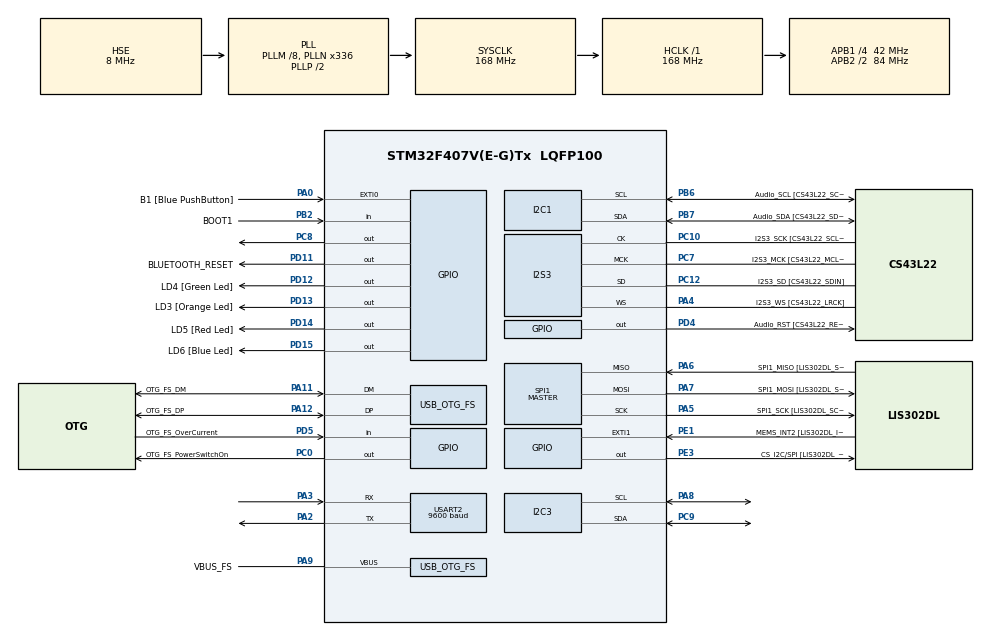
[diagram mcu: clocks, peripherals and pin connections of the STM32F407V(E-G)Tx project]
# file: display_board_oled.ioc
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PA11.GPIO_Speed=GPIO_SPEED_FREQ_LOW
PD12.GPIO_Label=LD4 [Green Led]
PH0-OSC_IN.Signal=RCC_OSC_IN
VP_SYS_VS_tim6.Mode=TIM6
PC10.GPIO_PuPd=GPIO_NOPULL
SPI1.VirtualType=VM_MASTER
PB10.GPIO_PuPd=GPIO_NOPULL
NVIC.TIM6_DAC_IRQn=true\:0\:0\:false\:false\:true\:false\:false\:true
PA10.GPIO_PuPd=GPIO_NOPULL
PC12.Signal=I2S3_SD
PA14.GPIO_Label=SWCLK
PA6.GPIO_Label=SPI1_MISO [LIS302DL_SDO]
PB6.GPIO_Label=Audio_SCL [CS43L22_SCL]
PC15-OSC32_OUT.GPIO_Label=PC15-OSC32_OUT
PC3.GPIO_Speed=GPIO_SPEED_FREQ_LOW
RCC.SYSCLKSource=RCC_SYSCLKSOURCE_PLLCLK
PA6.GPIO_Mode=GPIO_MODE_AF_PP
PB7.GPIO_Mode=GPIO_MODE_AF_OD
PD14.GPIO_Speed=GPIO_SPEED_FREQ_LOW
PA4.Mode=Half_Duplex_Master
SPI1.Direction=SPI_DIRECTION_2LINES
I2S3.AudioFreq-Half_Duplex_Master=I2S_AUDIOFREQ_96K
PD4.Signal=GPIO_Output
RCC.APB2TimFreq_Value=168000000
PB6.Signal=I2C1_SCL
PC7.Signal=I2S3_MCK
PB6.Mode=I2C
PC3.Signal=I2S2_SD
PE1.Signal=GPXTI1
USB_OTG_FS.phy_itface=HCD_PHY_EMBEDDED
PB2.Signal=GPIO_Input
I2S3.ErrorAudioFreq=-2.34 %
PA5.GPIO_PuPd=GPIO_NOPULL
I2S3.ErrorAudioFreq-Half_Duplex_Master=0.8 %
NVIC.TIM2_IRQn=true\:5\:0\:false\:false\:true\:true\:true\:true
PC9.Mode=I2C
PD5.GPIO_Mode=GPIO_MODE_INPUT
PD14.GPIO_PuPd=GPIO_NOPULL
PA8.Signal=I2C3_SCL
PB2.GPIO_PuPd=GPIO_NOPULL
SPI1.CalculateBaudRate-Full_Duplex_Master=42.0 MBits/s
Mcu.Package=LQFP100
TIM2.Prescaler=720
NVIC.TimeBase=TIM6_DAC_IRQn
PD12.Signal=GPIO_Output
NVIC.TimeBaseIP=TIM6
PA10.Signal=USB_OTG_FS_ID
RCC.APB2CLKDivider=RCC_HCLK_DIV2
RCC.APB1TimFreq_Value=84000000
PC12.GPIO_PuPd=GPIO_NOPULL
PA6.GPIO_Speed=GPIO_SPEED_FREQ_LOW
PA12.GPIO_PuPd=GPIO_NOPULL
PA4.GPIO_Label=I2S3_WS [CS43L22_LRCK]
PD15.Signal=GPIO_Output
PC0.PinState=GPIO_PIN_SET
NVIC.RCC_IRQn=true\:5\:0\:false\:false\:true\:true\:true\:false
PA5.Mode=Full_Duplex_Master
I2S3.FullDuplexMode=I2S_FULLDUPLEXMODE_DISABLE
FREERTOS.Tasks01=defaultTask,24,128,StartDefaultTask,Default,NULL,Dynamic,NULL,NULL
PA9.GPIO_Label=VBUS_FS
PB6.GPIO_PuPd=GPIO_NOPULL
PA11.GPIO_Label=OTG_FS_DM
PE1.GPIO_PuPd=GPIO_NOPULL
PC0.Signal=GPIO_Output
RCC.APB1CLKDivider=RCC_HCLK_DIV4
PC14-OSC32_IN.Signal=RCC_OSC32_IN
USART2.BaudRate=9600
PA0-WKUP.GPIO_ModeDefaultEXTI=GPIO_MODE_EVT_RISING
PA0-WKUP.GPIO_Label=B1 [Blue PushButton]
PA0-WKUP.Signal=GPXTI0
USB_HOST0.BSP.STBoard=false
PA3.Mode=Asynchronous
PC10.GPIO_Mode=GPIO_MODE_AF_PP
PB10.GPIO_Mode=GPIO_MODE_AF_PP
I2C1.I2C_Mode=I2C_Fast
PD11.GPIO_Speed=GPIO_SPEED_FREQ_HIGH
PA9.Signal=USB_OTG_FS_VBUS
I2S3.VirtualMode=I2S_MODE_MASTER
PC7.GPIO_PuPd=GPIO_NOPULL
PB10.Signal=I2S2_CK
PA5.Signal=SPI1_SCK
PC12.Mode=Half_Duplex_Master
PE1.GPIO_Label=MEMS_INT2 [LIS302DL_INT2]
USB_HOST.VirtualModeFS=Cdc
PA7.GPIO_Speed=GPIO_SPEED_FREQ_LOW
PB2.GPIO_Mode=GPIO_MODE_INPUT
SPI1.Mode=SPI_MODE_MASTER
PD4.GPIO_Speed=GPIO_SPEED_FREQ_LOW
PE3.GPIO_PuPd=GPIO_NOPULL
PH1-OSC_OUT.GPIO_Label=PH1-OSC_OUT
TIM2.Period=1999
PA13.Mode=Serial_Wire
PC7.GPIO_Label=I2S3_MCK [CS43L22_MCLK]
PA4.Signal=I2S3_WS
PC12.GPIO_Mode=GPIO_MODE_AF_PP
PA5.GPIO_Label=SPI1_SCK [LIS302DL_SCL/SPC]
PE3.GPIO_Speed=GPIO_SPEED_FREQ_LOW
PD11.Signal=GPIO_Output
PC12.GPIO_Label=I2S3_SD [CS43L22_SDIN]
PA11.Signal=USB_OTG_FS_DM
ProjectManager.HeapSize=0x200
NVIC.PriorityGroup=NVIC_PRIORITYGROUP_4
PE3.Signal=GPIO_Output
PC3.GPIO_Label=PDM_OUT [MP45DT02_DOUT]
PA0-WKUP.GPIO_PuPd=GPIO_NOPULL
PA8.Mode=I2C
I2S3.Instance=SPI$Index
PB6.GPIO_Speed=GPIO_SPEED_FREQ_LOW
SPI1.BaudRatePrescaler-Full_Duplex_Master=SPI_BAUDRATEPRESCALER_2
USB_HOST0.BSP.mode=Output
Mcu.Family=STM32F4
PC3.GPIO_Mode=GPIO_MODE_AF_PP
PA6.Mode=Full_Duplex_Master
RCC.CortexFreq_Value=168000000
PB10.GPIO_Speed=GPIO_SPEED_FREQ_LOW
PB6.GPIO_Mode=GPIO_MODE_AF_OD
PD15.GPIO_Speed=GPIO_SPEED_FREQ_LOW
PC10.Signal=I2S3_CK
PA7.GPIO_Mode=GPIO_MODE_AF_PP
PC0.GPIO_Label=OTG_FS_PowerSwitchOn
PA11.Mode=Host_Only
PC10.GPIO_Speed=GPIO_SPEED_FREQ_LOW
PA11.GPIO_PuPd=GPIO_NOPULL
PD11.PinState=GPIO_PIN_RESET
ProjectManager.StackSize=0x400
PC8.PinState=GPIO_PIN_SET
VP_FREERTOS_VS_CMSIS_V2.Mode=CMSIS_V2
SPI1.Mode-Full_Duplex_Master=SPI_MODE_MASTER
PD13.Signal=GPIO_Output
PA12.Signal=USB_OTG_FS_DP
PD11.GPIO_Label=BLUETOOTH_RESET
RCC.HCLKFreq_Value=168000000
USB_HOST0.BSP.ip=GPIO
RCC.AHBFreq_Value=168000000
PH0-OSC_IN.Mode=HSE-External-Oscillator
PH0-OSC_IN.GPIO_Label=PH0-OSC_IN
PA9.GPIO_Mode=GPIO_MODE_INPUT
RCC.HSE_VALUE=8000000
PA4.GPIO_PuPd=GPIO_NOPULL
PA4.GPIO_Speed=GPIO_SPEED_FREQ_LOW
PA6.GPIO_PuPd=GPIO_NOPULL
PC14-OSC32_IN.Mode=LSE-External-Oscillator
PA14.Mode=Serial_Wire
PA10.GPIO_Label=OTG_FS_ID
PC7.GPIO_Mode=GPIO_MODE_AF_PP
PB7.Signal=I2C1_SDA
USB_HOST0.BSP.i2creg=0
PB7.GPIO_Label=Audio_SDA [CS43L22_SDA]
PH1-OSC_OUT.Mode=HSE-External-Oscillator
USB_HOST0.BSP.i2caddr=0
PD13.GPIO_Label=LD3 [Orange Led]
PA6.Signal=SPI1_MISO
USART2.VirtualMode=VM_ASYNC
USB_HOST.USBH_HandleTypeDef-CDC_FS=hUsbHostFS
PD5.GPIO_Label=OTG_FS_OverCurrent
NVIC.OTG_FS_IRQn=true\:5\:0\:false\:false\:true\:true\:true\:true
PD15.GPIO_PuPd=GPIO_NOPULL
USB_OTG_FS.VirtualMode=Host_Only
PA10.GPIO_Speed=GPIO_SPEED_FREQ_LOW
USB_HOST0.BSP.name=Drive_VBUS_FS
PC14-OSC32_IN.GPIO_Label=PC14-OSC32_IN
PC0.GPIO_PuPd=GPIO_NOPULL
PA12.GPIO_Speed=GPIO_SPEED_FREQ_LOW
PA3.Signal=USART2_RX
PB7.GPIO_Speed=GPIO_SPEED_FREQ_LOW
PB3.GPIO_Label=SWO
PC15-OSC32_OUT.Mode=LSE-External-Oscillator
I2C3.I2C_Mode=I2C_Fast
PD12.GPIO_Speed=GPIO_SPEED_FREQ_LOW
PD15.GPIO_Label=LD6 [Blue Led]
PA7.Mode=Full_Duplex_Master
PC10.GPIO_Label=I2S3_SCK [CS43L22_SCLK]
PC8.Signal=GPIO_Output
USB_HOST0.BSP.solution=PC0
PC10.Mode=Half_Duplex_Master
USB_HOST.BSP.number=1
PD5.Signal=GPIO_Input
PE1.GPIO_ModeDefaultEXTI=GPIO_MODE_EVT_RISING
PA9.GPIO_PuPd=GPIO_NOPULL
NVIC.USART2_IRQn=true\:5\:0\:false\:false\:true\:true\:true\:true
PA12.GPIO_Label=OTG_FS_DP
PA10.GPIO_Mode=GPIO_MODE_AF_PP
PA13.Signal=SYS_JTMS-SWDIO
PD4.GPIO_PuPd=GPIO_NOPULL
PA9.Mode=Activate_VBUS
PC0.GPIO_Speed=GPIO_SPEED_FREQ_LOW
I2S3.RealAudioFreq-Half_Duplex_Master=96.774 KHz
ProjectManager.TargetToolchain=STM32CubeIDE
PB10.GPIO_Label=CLK_IN [MP45DT02_CLK]
PC15-OSC32_OUT.Signal=RCC_OSC32_OUT
PA7.GPIO_PuPd=GPIO_NOPULL
board=STM32F407G-DISC1
PD13.GPIO_Speed=GPIO_SPEED_FREQ_LOW
PC7.GPIO_Speed=GPIO_SPEED_FREQ_LOW
RCC.VCOOutputFreq_Value=336000000
PA12.GPIO_Mode=GPIO_MODE_AF_PP
PA4.GPIO_Mode=GPIO_MODE_AF_PP
RCC.APB2Freq_Value=84000000
USB_HOST0.BSP.api=Unknown
VP_TIM2_VS_ClockSourceINT.Mode=Internal
PD4.GPIO_Label=Audio_RST [CS43L22_RESET]
PH1-OSC_OUT.Signal=RCC_OSC_OUT
PD13.GPIO_PuPd=GPIO_NOPULL
PD5.GPIO_PuPd=GPIO_NOPULL
PD14.GPIO_Label=LD5 [Red Led]
Mcu.Name=STM32F407V(E-G)Tx
PA2.Signal=USART2_TX
PA13.GPIO_Label=SWDIO
PD14.Signal=GPIO_Output
RCC.48MHZClocksFreq_Value=48000000
PB3.Signal=SYS_JTDO-SWO
RCC.SYSCLKFreq_VALUE=168000000
PA7.GPIO_Label=SPI1_MOSI [LIS302DL_SDA/SDI/SDO]
PA12.Mode=Host_Only
VP_USB_HOST_VS_USB_HOST_CDC_FS.Mode=CDC_FS
PB7.Mode=I2C
PA14.Signal=SYS_JTCK-SWCLK
PB2.GPIO_Label=BOOT1
RCC.HSI_VALUE=16000000
PA5.GPIO_Speed=GPIO_SPEED_FREQ_LOW
RCC.PLLQ=7
I2S3.RealAudioFreq=93.75 KHz
RCC.PLLM=8
RCC.PLLN=336
PA2.Mode=Asynchronous
PE3.GPIO_Label=CS_I2C/SPI [LIS302DL_CS_I2C/SPI]
PC9.Signal=I2C3_SDA
PC7.Mode=Master_Clock_Activated
PA11.GPIO_Mode=GPIO_MODE_AF_PP
RCC.APB1Freq_Value=42000000
PA5.GPIO_Mode=GPIO_MODE_AF_PP
PC12.GPIO_Speed=GPIO_SPEED_FREQ_LOW
PC3.GPIO_PuPd=GPIO_NOPULL
PD12.GPIO_PuPd=GPIO_NOPULL
PA7.Signal=SPI1_MOSI
USB_HOST0.BSP.instance=PC0

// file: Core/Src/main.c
/* USER CODE BEGIN Header */
/**
  ******************************************************************************
  * @file           : main.c
  * @brief          : Main program body
  ******************************************************************************
  * @attention
  *
  * <h2><center>&copy; Copyright (c) 2021 STMicroelectronics.
  * All rights reserved.</center></h2>
  *
  * This software component is licensed by ST under Ultimate Liberty license
  * SLA0044, the "License"; You may not use this file except in compliance with
  * the License. You may obtain a copy of the License at:
  *                             www.st.com/SLA0044
  *
  ******************************************************************************
  */
/* USER CODE END Header */
#include "main.h"
#include "cmsis_os.h"
#include "usb_host.h"

/* USER CODE BEGIN Includes */
#include "fonts.h"
#include "ssd1306.h"
#include "test.h"
#include "anim.h"
#include "pca9685.h"
#include "ring_buffer.h"
#include <stdio.h>
#include <stdbool.h>
/* USER CODE END Includes */

/* USER CODE BEGIN PD */
#define SERVO_COUNT 12
#define ANGLE_0_INIT 120
#define ANGLE_1_INIT 110
#define ANGLE_2_INIT 110
#define ANGLE_3_INIT 45

#define ANGLE_4_INIT 50
#define ANGLE_5_INIT 35
#define ANGLE_6_INIT 100
#define ANGLE_7_INIT 110

#define ANGLE_8_INIT 65
#define ANGLE_9_INIT 100
#define ANGLE_10_INIT 55
#define ANGLE_11_INIT 35

#define MAX_RING_SIZE 100
/* USER CODE END PD */

I2C_HandleTypeDef hi2c1;
I2C_HandleTypeDef hi2c3;

I2S_HandleTypeDef hi2s3;

SPI_HandleTypeDef hspi1;

TIM_HandleTypeDef htim2;

UART_HandleTypeDef huart2;

/* Definitions for defaultTask */
osThreadId_t defaultTaskHandle;
const osThreadAttr_t defaultTask_attributes = {
	.name = "defaultTask",
	.stack_size = 128 * 4,
	.priority = (osPriority_t)osPriorityNormal,
};
/* USER CODE BEGIN PV */

uint8_t ActiveServo = 0;
//Queue q;
__IO uint8_t temp,deq_temp,head = 0,tail = 0;
char rx_buff[100] = {0};

/* USER CODE END PV */

void SystemClock_Config(void);
static void MX_GPIO_Init(void);
static void MX_I2C1_Init(void);
static void MX_I2S3_Init(void);
static void MX_SPI1_Init(void);
static void MX_USART2_UART_Init(void);
static void MX_I2C3_Init(void);
static void MX_TIM2_Init(void);
void StartDefaultTask(void *argument);

/* USER CODE BEGIN 0 */
//printing

int _write(int file, char *ptr, int len)
{
  /* Implement your write code here, this is used by puts and printf for example */
  int i=0;
  for(i=0 ; i<len ; i++)
    ITM_SendChar((*ptr++));
  return len;
}

//printing
void HAL_UART_RxCpltCallback(UART_HandleTypeDef *huart)
{
	HAL_UART_Receive_IT(huart, (uint8_t *)&temp , 1);
//	enqueue(&q, temp);

	HAL_GPIO_TogglePin(GPIOD, GPIO_PIN_12);
	rx_buff[head] = temp;
	head = (head + 1)%100;
}

void start_normal()
{

	PCA9685_SetServoAngle(0, ANGLE_0_INIT);
	PCA9685_SetServoAngle(1, ANGLE_1_INIT);
	PCA9685_SetServoAngle(2, ANGLE_2_INIT);
	PCA9685_SetServoAngle(3, ANGLE_3_INIT);
	HAL_Delay(50);
	PCA9685_SetServoAngle(4, ANGLE_4_INIT);
	PCA9685_SetServoAngle(5, ANGLE_5_INIT);
	PCA9685_SetServoAngle(6, ANGLE_6_INIT);
	PCA9685_SetServoAngle(7, ANGLE_7_INIT);
	PCA9685_SetServoAngle(8, ANGLE_8_INIT);
	PCA9685_SetServoAngle(9, ANGLE_9_INIT);
	PCA9685_SetServoAngle(10, ANGLE_10_INIT);
	PCA9685_SetServoAngle(11, ANGLE_11_INIT);
	HAL_Delay(50);
}

void walk(void *parameters)
{
	int delay_time = 50;
	PCA9685_SetServoAngle(7, ANGLE_7_INIT - 30);
	HAL_Delay(delay_time);
	PCA9685_SetServoAngle(3, ANGLE_3_INIT);
	HAL_Delay(delay_time);
	PCA9685_SetServoAngle(11, ANGLE_11_INIT - 35);
	HAL_Delay(delay_time);
	PCA9685_SetServoAngle(7, ANGLE_7_INIT);
	HAL_Delay(delay_time);
	PCA9685_SetServoAngle(7, ANGLE_7_INIT);
	HAL_Delay(delay_time);
	PCA9685_SetServoAngle(4, ANGLE_4_INIT + 20);
	HAL_Delay(delay_time);
	PCA9685_SetServoAngle(8, ANGLE_8_INIT - 20);
	HAL_Delay(delay_time);
	PCA9685_SetServoAngle(4, ANGLE_4_INIT);
	HAL_Delay(delay_time);
	PCA9685_SetServoAngle(9, ANGLE_9_INIT - 55);
	PCA9685_SetServoAngle(11, ANGLE_11_INIT);
	PCA9685_SetServoAngle(2, ANGLE_2_INIT - 30);
	HAL_Delay(delay_time);

	PCA9685_SetServoAngle(6, ANGLE_6_INIT + 30);
	HAL_Delay(delay_time);
	PCA9685_SetServoAngle(10, ANGLE_10_INIT + 30);
	HAL_Delay(delay_time);
	PCA9685_SetServoAngle(2, ANGLE_2_INIT);
	HAL_Delay(delay_time);
	PCA9685_SetServoAngle(6, ANGLE_6_INIT);
	HAL_Delay(delay_time);
	PCA9685_SetServoAngle(10, ANGLE_10_INIT + 30);

	//		STATE 2
	PCA9685_SetServoAngle(5, ANGLE_5_INIT + 30);
	HAL_Delay(delay_time);
	PCA9685_SetServoAngle(9, ANGLE_9_INIT);
	HAL_Delay(delay_time);
	PCA9685_SetServoAngle(5, ANGLE_5_INIT);
	HAL_Delay(delay_time);
	PCA9685_SetServoAngle(8, ANGLE_8_INIT + 20);
	PCA9685_SetServoAngle(10, ANGLE_10_INIT);
	PCA9685_SetServoAngle(3, ANGLE_3_INIT + 20);
	HAL_Delay(delay_time);

}

void rotate_right(void *parameters)
{
	int delay_time = 50;

	PCA9685_SetServoAngle(4, ANGLE_4_INIT + 20);
	HAL_Delay(delay_time);
	PCA9685_SetServoAngle(8, ANGLE_8_INIT + 55);
	HAL_Delay(delay_time);
	PCA9685_SetServoAngle(4, ANGLE_4_INIT);
	HAL_Delay(delay_time);

	PCA9685_SetServoAngle(6, ANGLE_6_INIT + 30);
	HAL_Delay(delay_time);
	PCA9685_SetServoAngle(10, ANGLE_10_INIT + 50);
	HAL_Delay(delay_time);
	PCA9685_SetServoAngle(6, ANGLE_6_INIT);
	HAL_Delay(delay_time+50);

	PCA9685_SetServoAngle(5, ANGLE_5_INIT + 30);
	HAL_Delay(delay_time);
	PCA9685_SetServoAngle(9, ANGLE_9_INIT + 30);
	HAL_Delay(delay_time);
	PCA9685_SetServoAngle(5, ANGLE_5_INIT);
	HAL_Delay(delay_time);

	PCA9685_SetServoAngle(7, ANGLE_7_INIT - 30);
	HAL_Delay(delay_time);
	PCA9685_SetServoAngle(11, ANGLE_11_INIT + 30);
	HAL_Delay(delay_time);
	PCA9685_SetServoAngle(7, ANGLE_7_INIT);
	HAL_Delay(delay_time);

	start_normal();

}

void rotate_left(void *parameters)
{
	int delay_time = 50;

	PCA9685_SetServoAngle(4, ANGLE_4_INIT + 20);
	HAL_Delay(delay_time);
	PCA9685_SetServoAngle(8, ANGLE_8_INIT - 50);
	HAL_Delay(delay_time);
	PCA9685_SetServoAngle(4, ANGLE_4_INIT);
	HAL_Delay(delay_time);

	PCA9685_SetServoAngle(6, ANGLE_6_INIT + 30);
	HAL_Delay(delay_time);
	PCA9685_SetServoAngle(10, ANGLE_10_INIT - 30);
	HAL_Delay(delay_time);
	PCA9685_SetServoAngle(6, ANGLE_6_INIT);
	HAL_Delay(delay_time);

	PCA9685_SetServoAngle(5, ANGLE_5_INIT + 30);
	HAL_Delay(delay_time);
	PCA9685_SetServoAngle(9, ANGLE_9_INIT - 40);
	HAL_Delay(delay_time);
	PCA9685_SetServoAngle(5, ANGLE_5_INIT);
	HAL_Delay(delay_time);

	PCA9685_SetServoAngle(7, ANGLE_7_INIT - 30);
	HAL_Delay(delay_time);
	PCA9685_SetServoAngle(11, ANGLE_11_INIT - 30);
	HAL_Delay(delay_time);
	PCA9685_SetServoAngle(7, ANGLE_7_INIT);
	HAL_Delay(delay_time);

	start_normal();

}

void debugsy(void *parameters)
{
	for (;;)
	{
		SSD1306_GotoXY(0, 0);
		SSD1306_Puts("HELLO", &Font_11x18, 1);
		SSD1306_GotoXY(10, 30);
		SSD1306_Puts("WORLD :)", &Font_11x18, 1);
		SSD1306_UpdateScreen();

		HAL_Delay(2000);

		SSD1306_ScrollRight(0x00, 0x0f);
		HAL_Delay(2000);
		SSD1306_ScrollLeft(0x00, 0x0f);
		HAL_Delay(2000);

		SSD1306_Stopscroll();
		SSD1306_Clear();

		SSD1306_UpdateScreen();
	}
	vTaskDelete(NULL);
}

void greet(void *parameters)
{
	int delay_time = 50;

	PCA9685_SetServoAngle(8, ANGLE_8_INIT - 45);
	HAL_Delay(delay_time);
	PCA9685_SetServoAngle(4, ANGLE_4_INIT);
	HAL_Delay(delay_time);
	PCA9685_SetServoAngle(0, ANGLE_0_INIT);
	HAL_Delay(delay_time);

	PCA9685_SetServoAngle(1, ANGLE_1_INIT - 45);
	HAL_Delay(delay_time + 150);
	PCA9685_SetServoAngle(5, ANGLE_5_INIT + 65);
	HAL_Delay(delay_time + 100);
	PCA9685_SetServoAngle(9, ANGLE_9_INIT);
	HAL_Delay(delay_time + 100);
	PCA9685_SetServoAngle(1, ANGLE_1_INIT + 45);
	HAL_Delay(delay_time + 150);
}

void crouch(void *paramaters)
{
	int delay_time = 50;
}

void bt_config(void *parameters)
{
	int state = 0;
	while(1)
	{
		while((head != tail) )
		{
//			deq_temp = dequeue(&q);
//			printf("deq_temp = %c \n",deq_temp);
			deq_temp = rx_buff[tail];
			tail = (tail + 1)%100;
			if (deq_temp == 'w')
			{
				if (!state)
				{
					int delay_time = 50;
					start_normal(0);
					PCA9685_SetServoAngle(4, ANGLE_4_INIT + 20);
					HAL_Delay(delay_time);
					PCA9685_SetServoAngle(8, ANGLE_8_INIT + 20);
					HAL_Delay(delay_time);
					PCA9685_SetServoAngle(4, ANGLE_4_INIT);
					HAL_Delay(delay_time);
				}
				walk(0);
			}
			else if (deq_temp == 's')
			{
				state = 0;
				start_normal();
			}

			else if (deq_temp == 'd' )
			{
				state = 0;
				start_normal();
				rotate_left(0);
			}
			else if(deq_temp == 'a')
			{
				state = 0;
				start_normal();
				rotate_right(0);
			}
			else if (deq_temp == 't')
			{
				state = 0;
				start_normal();
				greet(0);

			}
			else if (deq_temp == 'c')
			{
				state = 0;
				crouch(0);
			}
			start_normal();
		}
	}
	vTaskDelete(NULL);
}

void faces(void *parameters)
{
	int times = 0;
	while (1)
	{
		SSD1306_DrawBitmap(0, 0, face1, 128, 64, 1);
		SSD1306_UpdateScreen();
		HAL_Delay(times + 1000);
		SSD1306_Clear();

		SSD1306_DrawBitmap(0, 0, face2, 128, 64, 1);
		SSD1306_UpdateScreen();
		HAL_Delay(times);
		SSD1306_Clear();

		SSD1306_DrawBitmap(0, 0, face3, 128, 64, 1);
		SSD1306_UpdateScreen();
		HAL_Delay(times);
		SSD1306_Clear();

		SSD1306_DrawBitmap(0, 0, face4, 128, 64, 1);
		SSD1306_UpdateScreen();
		HAL_Delay(times);
		SSD1306_Clear();

		SSD1306_DrawBitmap(0, 0, face5, 128, 64, 1);
		SSD1306_UpdateScreen();
		HAL_Delay(times);
		SSD1306_Clear();

		SSD1306_DrawBitmap(0, 0, face6, 128, 64, 1);
		SSD1306_UpdateScreen();
		HAL_Delay(times);
		SSD1306_Clear();
	}

	vTaskDelete(NULL);
}
/* USER CODE END 0 */

int main(void)
{

	/* MCU Configuration--------------------------------------------------------*/

	/* Reset of all peripherals, Initializes the Flash interface and the Systick. */
	HAL_Init();

	/* Configure the system clock */
	SystemClock_Config();

	/* Initialize all configured peripherals */
	MX_GPIO_Init();
	MX_I2C1_Init();
	MX_I2S3_Init();
	MX_SPI1_Init();
	MX_USART2_UART_Init();
	MX_I2C3_Init();
	MX_TIM2_Init();
	/* USER CODE BEGIN 2 */
//	init_queue(&q, 100);
	SSD1306_Init();
	PCA9685_Init(&hi2c3);

	start_normal();
	HAL_UART_Receive_IT(&huart2, (uint8_t *)&temp, 1);
//	rx_buff[head] = (char)temp;
//	head = (head + 1)%100;

	xTaskHandle HT1, HT2;
	xTaskCreate(faces, "face_show", configMINIMAL_STACK_SIZE, 0, 0, &HT1);
	xTaskCreate(bt_config, "bt", configMINIMAL_STACK_SIZE, 0, 0, &HT2);
	//
	vTaskStartScheduler();
	/* USER CODE END 2 */

	/* Init scheduler */
	osKernelInitialize();

	/* Create the thread(s) */
	/* creation of defaultTask */
	defaultTaskHandle = osThreadNew(StartDefaultTask, NULL, &defaultTask_attributes);

	/* Start scheduler */
	osKernelStart();

	/* We should never get here as control is now taken by the scheduler */
	/* Infinite loop */
	while (1)
	{

	}
}

void SystemClock_Config(void)
{
	RCC_OscInitTypeDef RCC_OscInitStruct = {0};
	RCC_ClkInitTypeDef RCC_ClkInitStruct = {0};
	RCC_PeriphCLKInitTypeDef PeriphClkInitStruct = {0};

	/** Configure the main internal regulator output voltage
  */
	__HAL_RCC_PWR_CLK_ENABLE();
	__HAL_PWR_VOLTAGESCALING_CONFIG(PWR_REGULATOR_VOLTAGE_SCALE1);
	/** Initializes the RCC Oscillators according to the specified parameters
  * in the RCC_OscInitTypeDef structure.
  */
	RCC_OscInitStruct.OscillatorType = RCC_OSCILLATORTYPE_HSE;
	RCC_OscInitStruct.HSEState = RCC_HSE_ON;
	RCC_OscInitStruct.PLL.PLLState = RCC_PLL_ON;
	RCC_OscInitStruct.PLL.PLLSource = RCC_PLLSOURCE_HSE;
	RCC_OscInitStruct.PLL.PLLM = 8;
	RCC_OscInitStruct.PLL.PLLN = 336;
	RCC_OscInitStruct.PLL.PLLP = RCC_PLLP_DIV2;
	RCC_OscInitStruct.PLL.PLLQ = 7;
	if (HAL_RCC_OscConfig(&RCC_OscInitStruct) != HAL_OK)
	{
		Error_Handler();
	}
	/** Initializes the CPU, AHB and APB buses clocks
  */
	RCC_ClkInitStruct.ClockType = RCC_CLOCKTYPE_HCLK | RCC_CLOCKTYPE_SYSCLK | RCC_CLOCKTYPE_PCLK1 | RCC_CLOCKTYPE_PCLK2;
	RCC_ClkInitStruct.SYSCLKSource = RCC_SYSCLKSOURCE_PLLCLK;
	RCC_ClkInitStruct.AHBCLKDivider = RCC_SYSCLK_DIV1;
	RCC_ClkInitStruct.APB1CLKDivider = RCC_HCLK_DIV4;
	RCC_ClkInitStruct.APB2CLKDivider = RCC_HCLK_DIV2;

	if (HAL_RCC_ClockConfig(&RCC_ClkInitStruct, FLASH_LATENCY_5) != HAL_OK)
	{
		Error_Handler();
	}
	PeriphClkInitStruct.PeriphClockSelection = RCC_PERIPHCLK_I2S;
	PeriphClkInitStruct.PLLI2S.PLLI2SN = 192;
	PeriphClkInitStruct.PLLI2S.PLLI2SR = 2;
	if (HAL_RCCEx_PeriphCLKConfig(&PeriphClkInitStruct) != HAL_OK)
	{
		Error_Handler();
	}
}

static void MX_I2C1_Init(void)
{

	hi2c1.Instance = I2C1;
	hi2c1.Init.ClockSpeed = 400000;
	hi2c1.Init.DutyCycle = I2C_DUTYCYCLE_2;
	hi2c1.Init.OwnAddress1 = 0;
	hi2c1.Init.AddressingMode = I2C_ADDRESSINGMODE_7BIT;
	hi2c1.Init.DualAddressMode = I2C_DUALADDRESS_DISABLE;
	hi2c1.Init.OwnAddress2 = 0;
	hi2c1.Init.GeneralCallMode = I2C_GENERALCALL_DISABLE;
	hi2c1.Init.NoStretchMode = I2C_NOSTRETCH_DISABLE;
	if (HAL_I2C_Init(&hi2c1) != HAL_OK)
	{
		Error_Handler();
	}
}

static void MX_I2C3_Init(void)
{

	hi2c3.Instance = I2C3;
	hi2c3.Init.ClockSpeed = 400000;
	hi2c3.Init.DutyCycle = I2C_DUTYCYCLE_2;
	hi2c3.Init.OwnAddress1 = 0;
	hi2c3.Init.AddressingMode = I2C_ADDRESSINGMODE_7BIT;
	hi2c3.Init.DualAddressMode = I2C_DUALADDRESS_DISABLE;
	hi2c3.Init.OwnAddress2 = 0;
	hi2c3.Init.GeneralCallMode = I2C_GENERALCALL_DISABLE;
	hi2c3.Init.NoStretchMode = I2C_NOSTRETCH_DISABLE;
	if (HAL_I2C_Init(&hi2c3) != HAL_OK)
	{
		Error_Handler();
	}
}

static void MX_I2S3_Init(void)
{

	hi2s3.Instance = SPI3;
	hi2s3.Init.Mode = I2S_MODE_MASTER_TX;
	hi2s3.Init.Standard = I2S_STANDARD_PHILIPS;
	hi2s3.Init.DataFormat = I2S_DATAFORMAT_16B;
	hi2s3.Init.MCLKOutput = I2S_MCLKOUTPUT_ENABLE;
	hi2s3.Init.AudioFreq = I2S_AUDIOFREQ_96K;
	hi2s3.Init.CPOL = I2S_CPOL_LOW;
	hi2s3.Init.ClockSource = I2S_CLOCK_PLL;
	hi2s3.Init.FullDuplexMode = I2S_FULLDUPLEXMODE_DISABLE;
	if (HAL_I2S_Init(&hi2s3) != HAL_OK)
	{
		Error_Handler();
	}
}

static void MX_SPI1_Init(void)
{

	/* SPI1 parameter configuration*/
	hspi1.Instance = SPI1;
	hspi1.Init.Mode = SPI_MODE_MASTER;
	hspi1.Init.Direction = SPI_DIRECTION_2LINES;
	hspi1.Init.DataSize = SPI_DATASIZE_8BIT;
	hspi1.Init.CLKPolarity = SPI_POLARITY_LOW;
	hspi1.Init.CLKPhase = SPI_PHASE_1EDGE;
	hspi1.Init.NSS = SPI_NSS_SOFT;
	hspi1.Init.BaudRatePrescaler = SPI_BAUDRATEPRESCALER_2;
	hspi1.Init.FirstBit = SPI_FIRSTBIT_MSB;
	hspi1.Init.TIMode = SPI_TIMODE_DISABLE;
	hspi1.Init.CRCCalculation = SPI_CRCCALCULATION_DISABLE;
	hspi1.Init.CRCPolynomial = 10;
	if (HAL_SPI_Init(&hspi1) != HAL_OK)
	{
		Error_Handler();
	}
}

static void MX_TIM2_Init(void)
{

	TIM_ClockConfigTypeDef sClockSourceConfig = {0};
	TIM_MasterConfigTypeDef sMasterConfig = {0};

	htim2.Instance = TIM2;
	htim2.Init.Prescaler = 720;
	htim2.Init.CounterMode = TIM_COUNTERMODE_UP;
	htim2.Init.Period = 1999;
	htim2.Init.ClockDivision = TIM_CLOCKDIVISION_DIV1;
	htim2.Init.AutoReloadPreload = TIM_AUTORELOAD_PRELOAD_DISABLE;
	if (HAL_TIM_Base_Init(&htim2) != HAL_OK)
	{
		Error_Handler();
	}
	sClockSourceConfig.ClockSource = TIM_CLOCKSOURCE_INTERNAL;
	if (HAL_TIM_ConfigClockSource(&htim2, &sClockSourceConfig) != HAL_OK)
	{
		Error_Handler();
	}
	sMasterConfig.MasterOutputTrigger = TIM_TRGO_RESET;
	sMasterConfig.MasterSlaveMode = TIM_MASTERSLAVEMODE_DISABLE;
	if (HAL_TIMEx_MasterConfigSynchronization(&htim2, &sMasterConfig) != HAL_OK)
	{
		Error_Handler();
	}
}

static void MX_USART2_UART_Init(void)
{

	huart2.Instance = USART2;
	huart2.Init.BaudRate = 9600;
	huart2.Init.WordLength = UART_WORDLENGTH_8B;
	huart2.Init.StopBits = UART_STOPBITS_1;
	huart2.Init.Parity = UART_PARITY_NONE;
	huart2.Init.Mode = UART_MODE_TX_RX;
	huart2.Init.HwFlowCtl = UART_HWCONTROL_NONE;
	huart2.Init.OverSampling = UART_OVERSAMPLING_16;
	if (HAL_UART_Init(&huart2) != HAL_OK)
	{
		Error_Handler();
	}
}

static void MX_GPIO_Init(void)
{
	GPIO_InitTypeDef GPIO_InitStruct = {0};

	/* GPIO Ports Clock Enable */
	__HAL_RCC_GPIOE_CLK_ENABLE();
	__HAL_RCC_GPIOC_CLK_ENABLE();
	__HAL_RCC_GPIOH_CLK_ENABLE();
	__HAL_RCC_GPIOA_CLK_ENABLE();
	__HAL_RCC_GPIOB_CLK_ENABLE();
	__HAL_RCC_GPIOD_CLK_ENABLE();

	/*Configure GPIO pin Output Level */
	HAL_GPIO_WritePin(CS_I2C_SPI_GPIO_Port, CS_I2C_SPI_Pin, GPIO_PIN_RESET);

	/*Configure GPIO pin Output Level */
	HAL_GPIO_WritePin(GPIOC, OTG_FS_PowerSwitchOn_Pin | GPIO_PIN_8, GPIO_PIN_SET);

	/*Configure GPIO pin Output Level */
	HAL_GPIO_WritePin(GPIOD, BLUETOOTH_RESET_Pin | LD4_Pin | LD3_Pin | LD5_Pin | LD6_Pin | Audio_RST_Pin, GPIO_PIN_RESET);

	/*Configure GPIO pin : CS_I2C_SPI_Pin */
	GPIO_InitStruct.Pin = CS_I2C_SPI_Pin;
	GPIO_InitStruct.Mode = GPIO_MODE_OUTPUT_PP;
	GPIO_InitStruct.Pull = GPIO_NOPULL;
	GPIO_InitStruct.Speed = GPIO_SPEED_FREQ_LOW;
	HAL_GPIO_Init(CS_I2C_SPI_GPIO_Port, &GPIO_InitStruct);

	/*Configure GPIO pins : OTG_FS_PowerSwitchOn_Pin PC8 */
	GPIO_InitStruct.Pin = OTG_FS_PowerSwitchOn_Pin | GPIO_PIN_8;
	GPIO_InitStruct.Mode = GPIO_MODE_OUTPUT_PP;
	GPIO_InitStruct.Pull = GPIO_NOPULL;
	GPIO_InitStruct.Speed = GPIO_SPEED_FREQ_LOW;
	HAL_GPIO_Init(GPIOC, &GPIO_InitStruct);

	/*Configure GPIO pin : PDM_OUT_Pin */
	GPIO_InitStruct.Pin = PDM_OUT_Pin;
	GPIO_InitStruct.Mode = GPIO_MODE_AF_PP;
	GPIO_InitStruct.Pull = GPIO_NOPULL;
	GPIO_InitStruct.Speed = GPIO_SPEED_FREQ_LOW;
	GPIO_InitStruct.Alternate = GPIO_AF5_SPI2;
	HAL_GPIO_Init(PDM_OUT_GPIO_Port, &GPIO_InitStruct);

	/*Configure GPIO pin : B1_Pin */
	GPIO_InitStruct.Pin = B1_Pin;
	GPIO_InitStruct.Mode = GPIO_MODE_EVT_RISING;
	GPIO_InitStruct.Pull = GPIO_NOPULL;
	HAL_GPIO_Init(B1_GPIO_Port, &GPIO_InitStruct);

	/*Configure GPIO pin : BOOT1_Pin */
	GPIO_InitStruct.Pin = BOOT1_Pin;
	GPIO_InitStruct.Mode = GPIO_MODE_INPUT;
	GPIO_InitStruct.Pull = GPIO_NOPULL;
	HAL_GPIO_Init(BOOT1_GPIO_Port, &GPIO_InitStruct);

	/*Configure GPIO pin : CLK_IN_Pin */
	GPIO_InitStruct.Pin = CLK_IN_Pin;
	GPIO_InitStruct.Mode = GPIO_MODE_AF_PP;
	GPIO_InitStruct.Pull = GPIO_NOPULL;
	GPIO_InitStruct.Speed = GPIO_SPEED_FREQ_LOW;
	GPIO_InitStruct.Alternate = GPIO_AF5_SPI2;
	HAL_GPIO_Init(CLK_IN_GPIO_Port, &GPIO_InitStruct);

	/*Configure GPIO pin : BLUETOOTH_RESET_Pin */
	GPIO_InitStruct.Pin = BLUETOOTH_RESET_Pin;
	GPIO_InitStruct.Mode = GPIO_MODE_OUTPUT_PP;
	GPIO_InitStruct.Pull = GPIO_NOPULL;
	GPIO_InitStruct.Speed = GPIO_SPEED_FREQ_HIGH;
	HAL_GPIO_Init(BLUETOOTH_RESET_GPIO_Port, &GPIO_InitStruct);

	/*Configure GPIO pins : LD4_Pin LD3_Pin LD5_Pin LD6_Pin
                           Audio_RST_Pin */
	GPIO_InitStruct.Pin = LD4_Pin | LD3_Pin | LD5_Pin | LD6_Pin | Audio_RST_Pin;
	GPIO_InitStruct.Mode = GPIO_MODE_OUTPUT_PP;
	GPIO_InitStruct.Pull = GPIO_NOPULL;
	GPIO_InitStruct.Speed = GPIO_SPEED_FREQ_LOW;
	HAL_GPIO_Init(GPIOD, &GPIO_InitStruct);

	/*Configure GPIO pin : OTG_FS_OverCurrent_Pin */
	GPIO_InitStruct.Pin = OTG_FS_OverCurrent_Pin;
	GPIO_InitStruct.Mode = GPIO_MODE_INPUT;
	GPIO_InitStruct.Pull = GPIO_NOPULL;
	HAL_GPIO_Init(OTG_FS_OverCurrent_GPIO_Port, &GPIO_InitStruct);

	/*Configure GPIO pin : MEMS_INT2_Pin */
	GPIO_InitStruct.Pin = MEMS_INT2_Pin;
	GPIO_InitStruct.Mode = GPIO_MODE_EVT_RISING;
	GPIO_InitStruct.Pull = GPIO_NOPULL;
	HAL_GPIO_Init(MEMS_INT2_GPIO_Port, &GPIO_InitStruct);
}

void StartDefaultTask(void *argument)
{
	/* init code for USB_HOST */
	MX_USB_HOST_Init();
	for (;;)
	{
		osDelay(1);
	}
}

void HAL_TIM_PeriodElapsedCallback(TIM_HandleTypeDef *htim)
{
	if (htim->Instance == TIM6)
	{
		HAL_IncTick();
	}
}

void Error_Handler(void)
{
	__disable_irq();
	while (1)
	{
	}
}

/************************ (C) COPYRIGHT STMicroelectronics *****END OF FILE****/
